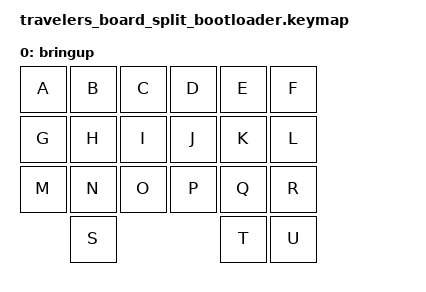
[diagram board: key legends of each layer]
#include <behaviors.dtsi>
#include <dt-bindings/zmk/keys.h>

/ {
    keymap {
        compatible = "zmk,keymap";

        /* Matches the direct-boot board's 21-key electrical bring-up map. */
        bringup {
            bindings = <
                &kp A &kp B &kp C &kp D &kp E &kp F
                &kp G &kp H &kp I &kp J &kp K &kp L
                &kp M &kp N &kp O &kp P &kp Q &kp R
                      &kp S             &kp T &kp U
            >;
        };
    };
};
